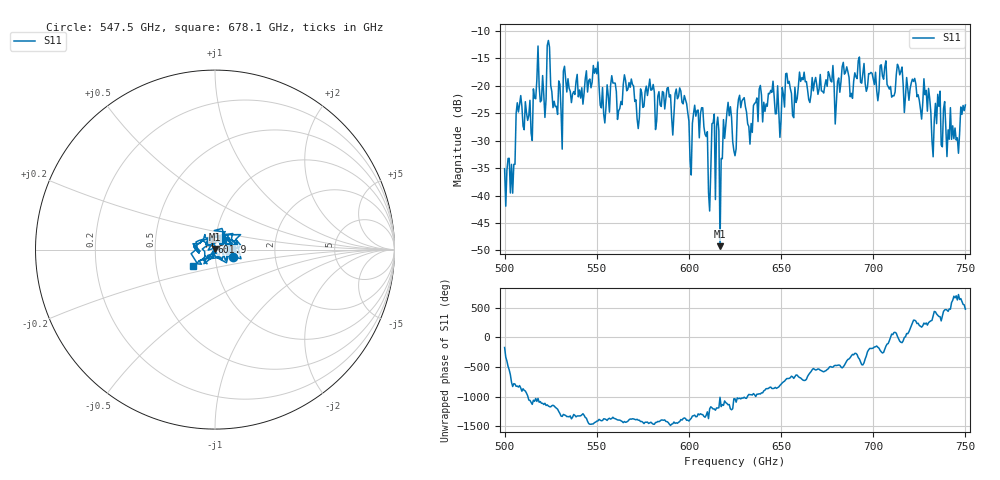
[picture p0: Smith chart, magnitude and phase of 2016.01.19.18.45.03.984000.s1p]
!Created with skrf (http://scikit-rf.org).
# GHz S RI R 50.0
!freq ReS11 ImS11
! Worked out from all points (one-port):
!   401 points, 500 GHz to 750 GHz, reference 50 ohm
!   lowest |S11| = -49.2 dB at 616.9 GHz (marker M1), VSWR 1.01, Z = 50.1 + j0.323 ohm
!   |S11| at or under -10 dB: start of sweep to end of sweep
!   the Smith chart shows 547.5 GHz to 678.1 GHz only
!   S11 on the Smith chart (normalised r, x): 547.5 GHz: 1.22, -0.10; 601.9 GHz: 0.96, +0.08; 678.1 GHz: 0.77, -0.14
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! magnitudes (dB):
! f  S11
! 500 GHz  -35.1
! 504.4 GHz  -39.6
! 507.5 GHz  -24.8
! 513.8 GHz  -22.6
! 523.8 GHz  -11.7
! 527.5 GHz  -23.8
! 531.2 GHz  -31.5
! 547.5 GHz  -19.3
! 562.5 GHz  -24.1
! 566.2 GHz  -20.9
! 571.9 GHz  -26.0
! 593.8 GHz  -22.3
! 601.9 GHz  -26.9
! 606.2 GHz  -25.0
! 610.6 GHz  -39.5
! 614.4 GHz  -40.7
! 616.9 GHz  -49.2
! 621.2 GHz  -23.0
! 625 GHz  -32.7
! 628.1 GHz  -24.0
! 633.1 GHz  -30.6
! 638.1 GHz  -20.6
! 656.2 GHz  -25.4
! 678.1 GHz  -16.3
! 687.5 GHz  -22.0
! 718.8 GHz  -20.5
! 745 GHz  -29.9
! 750 GHz  -23.5
